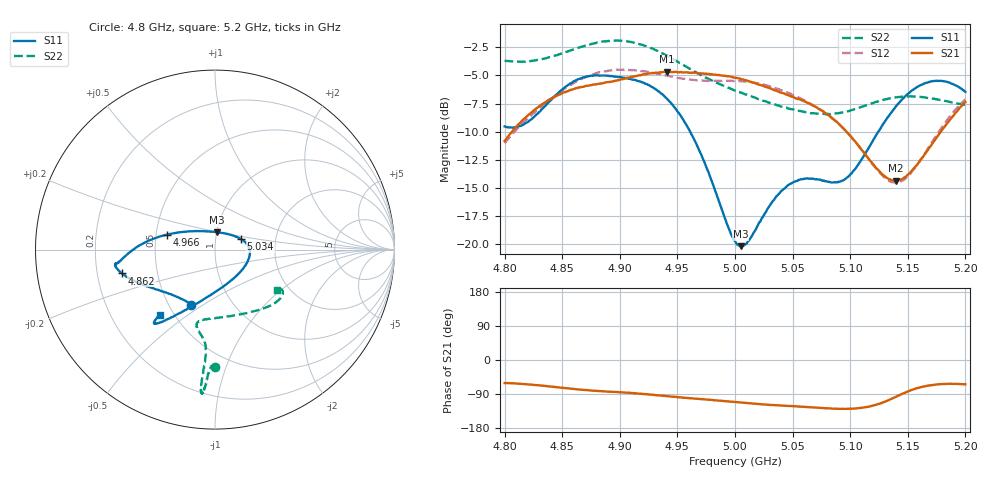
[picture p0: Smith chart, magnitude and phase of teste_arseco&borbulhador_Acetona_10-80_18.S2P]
! Network Analyzer HP8722D
! Hewlett-Packard
! Data name: Linha & Wilkinson
! Saver's name: Rodrigo Anjos
! Comments: Teste da utilização de aquisição
! continua pelo VNA HP8722D
! Time and date: 17/4/2025 14:30
!  Frequency  S11  S21  S12  S22
# HZ  S  MA R 50
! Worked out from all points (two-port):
!   401 points, 4.8 GHz to 5.2 GHz, reference 50 ohm
!   highest |S21| = -4.67 dB at 4.941 GHz (marker M1); lowest = -14.4 dB at 5.14 GHz (marker M2)
!   |S21| within 3 dB of the highest: 4.831 GHz to 5.067 GHz (236.3 MHz wide, 4.77 % of centre); 5.19717 GHz to end of sweep
!   lowest |S11| = -20.2 dB at 5.005 GHz (marker M3), VSWR 1.22, Z = 49.9 + j9.81 ohm
!   |S11| at or under -10 dB: 4.961 GHz to 5.124 GHz (163.3 MHz wide, 3.24 % of centre)
!   |S22| runs from -8.5 to -1.9 dB; largest |S21 - S12| = 0.87
!   S11 on the Smith chart (normalised r, x): 4.8 GHz: 0.65, -0.45; 4.862 GHz: 0.31, -0.11; 4.966 GHz: 0.57, +0.10; 5.034 GHz: 1.33, +0.16; 5.2 GHz: 0.42, -0.39
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4.8e9  0.3335 -113.2  0.2869 -60.9  0.2811 -175.0  0.6564 -89.9
4.819e9  0.3469 -133.1  0.3686 -64.0  0.357 -173.5  0.6505 -91.6
4.862e9  0.5352 -165.6  0.4941 -77.1  0.5276 -176.6  0.7422 -93.8
4.867e9  0.5482 -167.6  0.4997 -78.6  0.5428 -177.7  0.756 -94.0
4.899e9  0.5529 -172.1  0.5359 -85.2  0.5967 175.5  0.804 -95.3
4.934e9  0.4767 -178.0  0.5783 -93.6  0.5737 171.8  0.7176 -95.7
4.941e9  0.4426 178.7  0.5844 -95.3  0.5622 171.8  0.6898 -95.5
4.966e9  0.2817 162.9  0.5782 -101.9  0.5355 173.9  0.5816 -95.0
5e9  0.1032 102.3  0.5492 -111.0  0.5318 176.1  0.4819 -99.2
5.005e9  0.09769 85.0  0.5418 -112.5  0.5293 176.1  0.4715 -100.4
5.012e9  0.1037 62.2  0.5298 -114.3  0.5255 176.0  0.4581 -101.9
5.034e9  0.1571 21.4  0.4836 -119.0  0.4973 174.8  0.4183 -103.5
5.049e9  0.1861 6.0  0.4528 -121.5  0.4637 174.3  0.398 -100.0
5.067e9  0.1954 -13.1  0.4154 -125.0  0.4174 173.7  0.3819 -91.0
5.086e9  0.1882 -43.1  0.3577 -128.2  0.3558 173.8  0.3804 -76.6
5.097e9  0.1966 -65.7  0.3151 -128.9  0.3147 174.4  0.3887 -67.5
5.134e9  0.3749 -116.2  0.1937 -104.9  0.1905 -157.8  0.4443 -43.0
5.14e9  0.4117 -119.8  0.191 -96.7  0.188 -148.3  0.4492 -40.4
5.152e9  0.4744 -124.7  0.2079 -80.5  0.2049 -130.0  0.4539 -36.0
5.17e9  0.5287 -128.7  0.2729 -66.5  0.2786 -112.7  0.4454 -31.9
5.184e9  0.5263 -130.1  0.344 -63.0  0.3554 -107.3  0.4318 -30.9
5.2e9  0.4753 -130.4  0.428 -64.3  0.4406 -106.4  0.4144 -33.3
